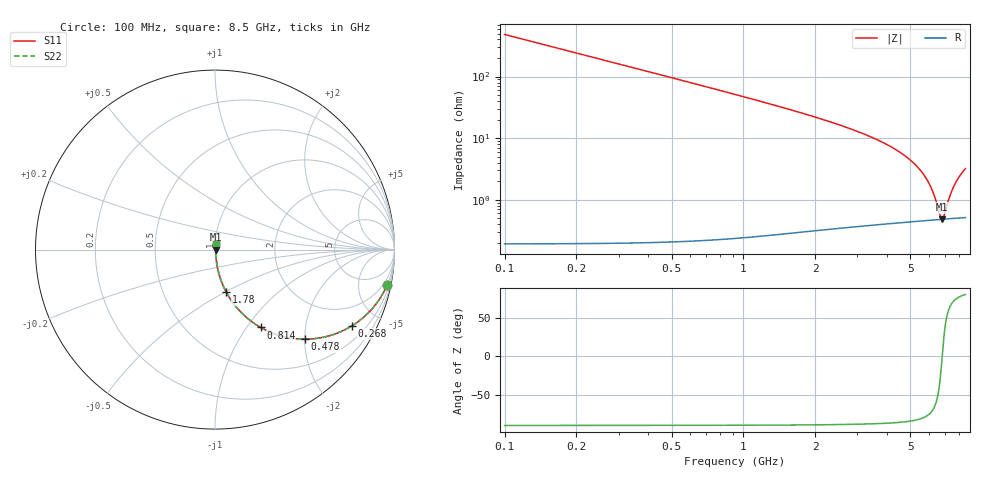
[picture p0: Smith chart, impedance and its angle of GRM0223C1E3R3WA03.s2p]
!Murata Part Number: GRM0223C1E3R3WA03
!These Parameters are Measured in Series Mode Connection
!Data Generated on Mar 30, 2021
!  o--ll--o
!Port1  Port2
!  o------o
!Operation Temp=25[degC], DC Bias Voltage=0[V]
!Freq. Start=100[MHz] Stop=9[GHz] 401[Steps]
# Hz S RI R 50
!Freq.(Hz) S11(Real) S11(Imag) S21(Real) S21(Imag) S12(Real) S12(Imag) S22(Real) S22(Imag)
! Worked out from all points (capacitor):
!   401 points, 100 MHz to 8.5 GHz, reference 50 ohm
!   read as one part in series: C = 3.3 pF near 142 MHz
!   lowest |Z| = 481 mohm at 6.799 GHz (marker M1)
!   series resonance near 6.796 GHz, so ESL is about 170 pH
!   S11 on the Smith chart (normalised r, x): 100 MHz: 1.00, -9.64; 268 MHz: 1.00, -3.59; 478 MHz: 1.00, -2.01; 814 MHz: 1.00, -1.17; 1.78 GHz: 1.01, -0.50; 8.5 GHz: 1.01, +0.06
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1e8  0.9587 -0.1988  0.0413 0.1988  0.0413 0.1988  0.9587 -0.1988
2.05e8  0.8465 -0.3601  0.1535 0.3601  0.1535 0.3601  0.8465 -0.3601
2.68e8  0.7632 -0.4246  0.2368 0.4246  0.2368 0.4246  0.7632 -0.4246
3.73e8  0.624 -0.4836  0.376 0.4836  0.376 0.4836  0.624 -0.4836
4.78e8  0.5017 -0.499  0.4983 0.499  0.4983 0.499  0.5017 -0.499
6.46e8  0.3537 -0.4767  0.6463 0.4767  0.6463 0.4767  0.3537 -0.4767
8.14e8  0.2546 -0.4337  0.7454 0.4337  0.7454 0.4337  0.2546 -0.4337
1.108e9  0.1531 -0.3572  0.8469 0.3572  0.8469 0.3572  0.1531 -0.3572
1.507e9  0.0863 -0.2763  0.9137 0.2763  0.9137 0.2763  0.0863 -0.2763
1.78e9  0.0619 -0.235  0.9381 0.235  0.9381 0.235  0.0619 -0.235
2.914e9  0.0211 -0.1308  0.9789 0.1308  0.9789 0.1308  0.0211 -0.1308
4.3e9  0.00849 -0.0657  0.9915 0.0657  0.9915 0.0657  0.00849 -0.0657
5.098e9  0.00602 -0.0405  0.994 0.0405  0.994 0.0405  0.00602 -0.0405
5.707e9  0.00513 -0.0244  0.9949 0.0244  0.9949 0.0244  0.00513 -0.0244
6.169e9  0.00483 -0.0134  0.9952 0.0134  0.9952 0.0134  0.00483 -0.0134
6.673e9  0.00476 -0.00252  0.9952 0.00252  0.9952 0.00252  0.00476 -0.00252
6.799e9  0.00478 6.94e-05  0.9952 -6.94e-05  0.9952 -6.94e-05  0.00478 6.94e-05
6.904e9  0.00481 0.00219  0.9952 -0.00219  0.9952 -0.00219  0.00481 0.00219
7.114e9  0.00489 0.00635  0.9951 -0.00635  0.9951 -0.00635  0.00489 0.00635
7.366e9  0.00502 0.0112  0.995 -0.0112  0.995 -0.0112  0.00502 0.0112
7.681e9  0.00525 0.017  0.9948 -0.017  0.9948 -0.017  0.00525 0.017
8.5e9  0.00607 0.0312  0.9939 -0.0312  0.9939 -0.0312  0.00607 0.0312
